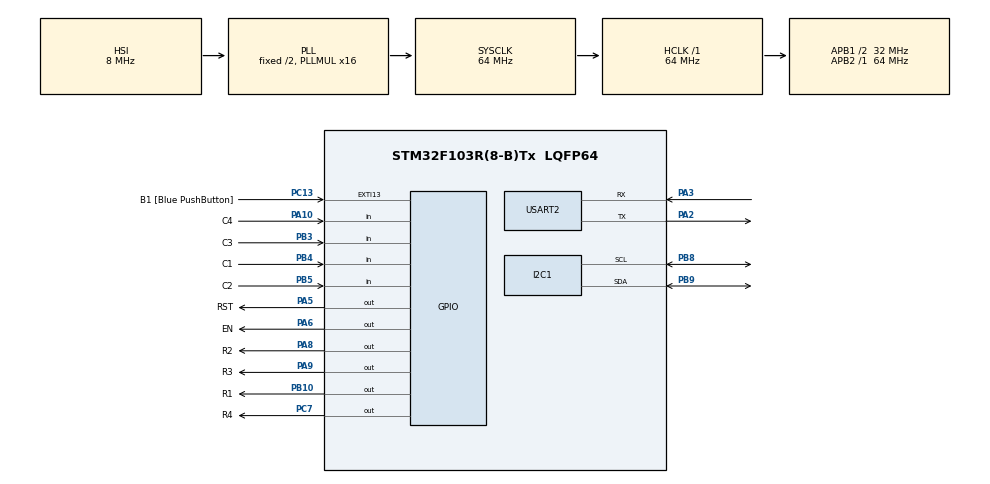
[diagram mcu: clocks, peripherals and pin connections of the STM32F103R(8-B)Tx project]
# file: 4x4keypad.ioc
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Mcu.Family=STM32F1
Mcu.Name=STM32F103R(8-B)Tx
Mcu.Package=LQFP64
NVIC.EXTI15_10_IRQn=true\:0\:0\:false\:false\:true\:true\:true
NVIC.PriorityGroup=NVIC_PRIORITYGROUP_4
NVIC.TIM3_IRQn=true\:0\:0\:false\:false\:true\:true\:true
NVIC.USART2_IRQn=true\:0\:0\:false\:false\:true\:true\:true
PA10.GPIO_Label=C4
PA10.GPIO_Mode=GPIO_MODE_INPUT
PA10.GPIO_PuPd=GPIO_PULLUP
PA10.Signal=GPIO_Input
PA13.GPIO_Label=TMS
PA13.Mode=Serial_Wire
PA13.Signal=SYS_JTMS-SWDIO
PA14.GPIO_Label=TCK
PA14.Mode=Serial_Wire
PA14.Signal=SYS_JTCK-SWCLK
PA2.Mode=Asynchronous
PA2.Signal=USART2_TX
PA3.Mode=Asynchronous
PA3.Signal=USART2_RX
PA5.GPIO_Label=RST
PA5.Signal=GPIO_Output
PA6.GPIO_Label=EN
PA6.Signal=GPIO_Output
PA8.GPIO_Label=R2
PA8.Signal=GPIO_Output
PA9.GPIO_Label=R3
PA9.Signal=GPIO_Output
PB10.GPIO_Label=R1
PB10.Signal=GPIO_Output
PB3.GPIO_Label=C3
PB3.GPIO_Mode=GPIO_MODE_INPUT
PB3.GPIO_PuPd=GPIO_PULLUP
PB3.Signal=GPIO_Input
PB4.GPIO_Label=C1
PB4.GPIO_Mode=GPIO_MODE_INPUT
PB4.GPIO_PuPd=GPIO_PULLUP
PB4.Signal=GPIO_Input
PB5.GPIO_Label=C2
PB5.GPIO_Mode=GPIO_MODE_INPUT
PB5.GPIO_PuPd=GPIO_PULLUP
PB5.Signal=GPIO_Input
PB8.Mode=I2C
PB8.Signal=I2C1_SCL
PB9.Mode=I2C
PB9.Signal=I2C1_SDA
PC13-TAMPER-RTC.GPIO_Label=B1 [Blue PushButton]
PC13-TAMPER-RTC.GPIO_PuPd=GPIO_NOPULL
PC13-TAMPER-RTC.Signal=GPXTI13
PC14-OSC32_IN.Signal=RCC_OSC32_IN
PC15-OSC32_OUT.Signal=RCC_OSC32_OUT
PC7.GPIO_Label=R4
PC7.Signal=GPIO_Output
PD0-OSC_IN.Signal=RCC_OSC_IN
PD1-OSC_OUT.Signal=RCC_OSC_OUT
ProjectManager.HeapSize=0x200
ProjectManager.StackSize=0x400
ProjectManager.TargetToolchain=STM32CubeIDE
RCC.AHBFreq_Value=64000000
RCC.APB1CLKDivider=RCC_HCLK_DIV2
RCC.APB1Freq_Value=32000000
RCC.APB1TimFreq_Value=64000000
RCC.APB2Freq_Value=64000000
RCC.APB2TimFreq_Value=64000000
RCC.HCLKFreq_Value=64000000
RCC.PLLMUL=RCC_PLL_MUL16
RCC.RTCClockSelection=RCC_RTCCLKSOURCE_LSE
RCC.SYSCLKFreq_VALUE=64000000
RCC.SYSCLKSource=RCC_SYSCLKSOURCE_PLLCLK
RCC.USBFreq_Value=64000000
TIM3.AutoReloadPreload=TIM_AUTORELOAD_PRELOAD_ENABLE
TIM3.Period=999
TIM3.Prescaler=63
USART2.VirtualMode=VM_ASYNC
VP_TIM3_VS_ClockSourceINT.Mode=Internal
board=NUCLEO-F103RB

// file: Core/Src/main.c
/* USER CODE BEGIN Header */
/**
  ******************************************************************************
  * @file           : main.c
  * @brief          : Main program body
  ******************************************************************************
  * @attention
  *
  * <h2><center>&copy; Copyright (c) 2024 STMicroelectronics.
  * All rights reserved.</center></h2>
  *
  * This software component is licensed by ST under BSD 3-Clause license,
  * the "License"; You may not use this file except in compliance with the
  * License. You may obtain a copy of the License at:
  *                        opensource.org/licenses/BSD-3-Clause
  *
  ******************************************************************************
  */
/* USER CODE END Header */

#include "main.h"

/* USER CODE BEGIN Includes */
#include <stdio.h>
#include <string.h>
#include "lcd_i2c.h"
#include "keypad.h"
/* USER CODE END Includes */

/* USER CODE BEGIN PD */
#define PW_MAX_SIZE 7
#define MAX_CHAR_SIZE 16
/* USER CODE END PD */

I2C_HandleTypeDef hi2c1;

TIM_HandleTypeDef htim3;

UART_HandleTypeDef huart2;

/* USER CODE BEGIN PV */
volatile int gTimerCnt = -1;
volatile int remainTime_idx = 10;
volatile short enable_inputPw = 0;								// check that if user press any buttons
extern short enable_remainTime_progress;
short gp_timer = 0;
short running_pw = 0;
/* USER CODE END PV */

void SystemClock_Config(void);
static void MX_GPIO_Init(void);
static void MX_I2C1_Init(void);
static void MX_TIM3_Init(void);
static void MX_USART2_UART_Init(void);

/* USER CODE BEGIN 0 */
#ifdef __GNUC__
#define PUTCHAR_PROTOTYPE int __io_putchar(int ch)
#else
#define PUTCHAR_PROTOTYPE int fputc(int ch, FILE *f)
#endif

/**
 * @brief Retargets the C library printf function to the USART.
 * @param None
 * @retval None
 */
PUTCHAR_PROTOTYPE
{
	if(ch == '\n')
		HAL_UART_Transmit(&huart2, (uint8_t*)"\r", 1, 0xFFFF);
	HAL_UART_Transmit(&huart2, (uint8_t*) &ch, 1, 0xFFFF);

	return ch;
}

void init_input_mode()
{

}
/* USER CODE END 0 */

int main(void)
{

  /* MCU Configuration--------------------------------------------------------*/

  /* Reset of all peripherals, Initializes the Flash interface and the Systick. */
  HAL_Init();

  /* Configure the system clock */
  SystemClock_Config();

  /* Initialize all configured peripherals */
  MX_GPIO_Init();
  MX_I2C1_Init();
  MX_TIM3_Init();
  MX_USART2_UART_Init();
  /* USER CODE BEGIN 2 */

  char* str = "Enter Password";
  char input_mode = 0;							// Check whether input mode or not
  char btn_key;									// 4 * 3 keypad number key
  char input_key[2] = "\0";						// Convert btn_key to string
  char pw[MAX_CHAR_SIZE] = "\0";				// Password that has input_numkey
  short long_press_cnt = 0;						// For change password
  char password[PW_MAX_SIZE] = "123456\0";		// Door lock password
  short current_cursor = 0;						// Position of current cursor
  int timeout;
  home(str);

  if(HAL_TIM_Base_Start_IT(&htim3) != HAL_OK)
  {
	  /* Starting Error */
	  Error_Handler();
  }
  /* USER CODE END 2 */

  /* Infinite loop */
  /* USER CODE BEGIN WHILE */
  while (1)
  {
	  /* check time out */
	  timeout = ((remainTime_idx < 0) ? 0x10 : 0x00);

	  /* input key and check correct input key */
	  if( (btn_key = scan_Rx()) == 255)
	  {
		  /* if time is 0 */
		  if(!(timeout & 0x10))
		  {
			  continue;
		  }else
		  {
			  // if time is out and check password
			  goto checkPw;
		  }
	  }

	  // change pw mode
	  if(btn_key == '#' && !running_pw)
	  {
		  short is_longPress = check_change_pw_key_pressed(&long_press_cnt, &gp_timer);
		  if(is_longPress)
		  {
			  __disable_irq();
			  if(changePassword(password, PW_MAX_SIZE))
			  {
				  printf("success password %s\n", password);
			  }else
			  {
				  printf("failed password\n");
			  }
			  __enable_irq();
		  }
		  continue;
	  }

	  /* set isTextRemoved when condition is true */
	  if( (btn_key != 255 && btn_key != '-') && (input_mode == 0) ) // nothing pressed and not '-' key and text is not removed
	  {
		  input_mode = 1;	// the 'text' means "Enter Password".
	  }

	  /* if input mode */
	  if(input_mode == 1)
	  {
		  HD44780_Clear();
		  input_mode = -1;
		  enable_inputPw = 0x01;

		  set_remain_time_progress();
		  gTimerCnt = 999;
	  }

	  /* ready for receive pw */
	  if(enable_inputPw)
	  {
		  input_key[0] = btn_key; //user input num key

		  /* check time out */
		  // if input key is *(for confirm) checkPw = 1 or 0
		  int checkPw = (((!strcmp(input_key, "*")) == 1) ? 0x01 : 0x00);
	  checkPw:
		  if(checkPw || timeout)
		  {

			  checkPassword(pw, password);

			  HD44780_Clear();
			  enable_remainTime_progress = 0;
			  set_remain_time_progress();
			  remainTime_idx = 10;
			  current_cursor = -1;

//			  sprintf(pw, "%s", '\0');
			  sprintf(pw, "%s", "\0");
		  }else
		  {
			  /* ready for write num key that is pressed by user */
			  if(current_cursor < MAX_CHAR_SIZE && strcmp(input_key,"#"))
			  {
				  pw[current_cursor] = btn_key;
				  set_cursor_pos(current_cursor, 0); // column and row
				  HD44780_PrintStr(input_key);
			  }
		  }
	  }
	  current_cursor++;

    /* USER CODE END WHILE */

  }
}

void SystemClock_Config(void)
{
  RCC_OscInitTypeDef RCC_OscInitStruct = {0};
  RCC_ClkInitTypeDef RCC_ClkInitStruct = {0};

  /** Initializes the CPU, AHB and APB busses clocks
  */
  RCC_OscInitStruct.OscillatorType = RCC_OSCILLATORTYPE_HSI;
  RCC_OscInitStruct.HSIState = RCC_HSI_ON;
  RCC_OscInitStruct.HSICalibrationValue = RCC_HSICALIBRATION_DEFAULT;
  RCC_OscInitStruct.PLL.PLLState = RCC_PLL_ON;
  RCC_OscInitStruct.PLL.PLLSource = RCC_PLLSOURCE_HSI_DIV2;
  RCC_OscInitStruct.PLL.PLLMUL = RCC_PLL_MUL16;
  if (HAL_RCC_OscConfig(&RCC_OscInitStruct) != HAL_OK)
  {
    Error_Handler();
  }
  /** Initializes the CPU, AHB and APB busses clocks
  */
  RCC_ClkInitStruct.ClockType = RCC_CLOCKTYPE_HCLK|RCC_CLOCKTYPE_SYSCLK
                              |RCC_CLOCKTYPE_PCLK1|RCC_CLOCKTYPE_PCLK2;
  RCC_ClkInitStruct.SYSCLKSource = RCC_SYSCLKSOURCE_PLLCLK;
  RCC_ClkInitStruct.AHBCLKDivider = RCC_SYSCLK_DIV1;
  RCC_ClkInitStruct.APB1CLKDivider = RCC_HCLK_DIV2;
  RCC_ClkInitStruct.APB2CLKDivider = RCC_HCLK_DIV1;

  if (HAL_RCC_ClockConfig(&RCC_ClkInitStruct, FLASH_LATENCY_2) != HAL_OK)
  {
    Error_Handler();
  }
}

static void MX_I2C1_Init(void)
{

  hi2c1.Instance = I2C1;
  hi2c1.Init.ClockSpeed = 100000;
  hi2c1.Init.DutyCycle = I2C_DUTYCYCLE_2;
  hi2c1.Init.OwnAddress1 = 0;
  hi2c1.Init.AddressingMode = I2C_ADDRESSINGMODE_7BIT;
  hi2c1.Init.DualAddressMode = I2C_DUALADDRESS_DISABLE;
  hi2c1.Init.OwnAddress2 = 0;
  hi2c1.Init.GeneralCallMode = I2C_GENERALCALL_DISABLE;
  hi2c1.Init.NoStretchMode = I2C_NOSTRETCH_DISABLE;
  if (HAL_I2C_Init(&hi2c1) != HAL_OK)
  {
    Error_Handler();
  }

}

static void MX_TIM3_Init(void)
{

  TIM_ClockConfigTypeDef sClockSourceConfig = {0};
  TIM_MasterConfigTypeDef sMasterConfig = {0};

  htim3.Instance = TIM3;
  htim3.Init.Prescaler = 63;
  htim3.Init.CounterMode = TIM_COUNTERMODE_UP;
  htim3.Init.Period = 999;
  htim3.Init.ClockDivision = TIM_CLOCKDIVISION_DIV1;
  htim3.Init.AutoReloadPreload = TIM_AUTORELOAD_PRELOAD_ENABLE;
  if (HAL_TIM_Base_Init(&htim3) != HAL_OK)
  {
    Error_Handler();
  }
  sClockSourceConfig.ClockSource = TIM_CLOCKSOURCE_INTERNAL;
  if (HAL_TIM_ConfigClockSource(&htim3, &sClockSourceConfig) != HAL_OK)
  {
    Error_Handler();
  }
  sMasterConfig.MasterOutputTrigger = TIM_TRGO_RESET;
  sMasterConfig.MasterSlaveMode = TIM_MASTERSLAVEMODE_DISABLE;
  if (HAL_TIMEx_MasterConfigSynchronization(&htim3, &sMasterConfig) != HAL_OK)
  {
    Error_Handler();
  }

}

static void MX_USART2_UART_Init(void)
{

  huart2.Instance = USART2;
  huart2.Init.BaudRate = 115200;
  huart2.Init.WordLength = UART_WORDLENGTH_8B;
  huart2.Init.StopBits = UART_STOPBITS_1;
  huart2.Init.Parity = UART_PARITY_NONE;
  huart2.Init.Mode = UART_MODE_TX_RX;
  huart2.Init.HwFlowCtl = UART_HWCONTROL_NONE;
  huart2.Init.OverSampling = UART_OVERSAMPLING_16;
  if (HAL_UART_Init(&huart2) != HAL_OK)
  {
    Error_Handler();
  }

}

static void MX_GPIO_Init(void)
{
  GPIO_InitTypeDef GPIO_InitStruct = {0};

  /* GPIO Ports Clock Enable */
  __HAL_RCC_GPIOC_CLK_ENABLE();
  __HAL_RCC_GPIOD_CLK_ENABLE();
  __HAL_RCC_GPIOA_CLK_ENABLE();
  __HAL_RCC_GPIOB_CLK_ENABLE();

  /*Configure GPIO pin Output Level */
  HAL_GPIO_WritePin(GPIOA, RST_Pin|EN_Pin|R2_Pin|R3_Pin, GPIO_PIN_RESET);

  /*Configure GPIO pin Output Level */
  HAL_GPIO_WritePin(R1_GPIO_Port, R1_Pin, GPIO_PIN_RESET);

  /*Configure GPIO pin Output Level */
  HAL_GPIO_WritePin(R4_GPIO_Port, R4_Pin, GPIO_PIN_RESET);

  /*Configure GPIO pin : B1_Pin */
  GPIO_InitStruct.Pin = B1_Pin;
  GPIO_InitStruct.Mode = GPIO_MODE_IT_RISING;
  GPIO_InitStruct.Pull = GPIO_NOPULL;
  HAL_GPIO_Init(B1_GPIO_Port, &GPIO_InitStruct);

  /*Configure GPIO pins : RST_Pin EN_Pin R2_Pin R3_Pin */
  GPIO_InitStruct.Pin = RST_Pin|EN_Pin|R2_Pin|R3_Pin;
  GPIO_InitStruct.Mode = GPIO_MODE_OUTPUT_PP;
  GPIO_InitStruct.Pull = GPIO_NOPULL;
  GPIO_InitStruct.Speed = GPIO_SPEED_FREQ_LOW;
  HAL_GPIO_Init(GPIOA, &GPIO_InitStruct);

  /*Configure GPIO pin : R1_Pin */
  GPIO_InitStruct.Pin = R1_Pin;
  GPIO_InitStruct.Mode = GPIO_MODE_OUTPUT_PP;
  GPIO_InitStruct.Pull = GPIO_NOPULL;
  GPIO_InitStruct.Speed = GPIO_SPEED_FREQ_LOW;
  HAL_GPIO_Init(R1_GPIO_Port, &GPIO_InitStruct);

  /*Configure GPIO pin : R4_Pin */
  GPIO_InitStruct.Pin = R4_Pin;
  GPIO_InitStruct.Mode = GPIO_MODE_OUTPUT_PP;
  GPIO_InitStruct.Pull = GPIO_NOPULL;
  GPIO_InitStruct.Speed = GPIO_SPEED_FREQ_LOW;
  HAL_GPIO_Init(R4_GPIO_Port, &GPIO_InitStruct);

  /*Configure GPIO pin : C4_Pin */
  GPIO_InitStruct.Pin = C4_Pin;
  GPIO_InitStruct.Mode = GPIO_MODE_INPUT;
  GPIO_InitStruct.Pull = GPIO_PULLUP;
  HAL_GPIO_Init(C4_GPIO_Port, &GPIO_InitStruct);

  /*Configure GPIO pins : C3_Pin C1_Pin C2_Pin */
  GPIO_InitStruct.Pin = C3_Pin|C1_Pin|C2_Pin;
  GPIO_InitStruct.Mode = GPIO_MODE_INPUT;
  GPIO_InitStruct.Pull = GPIO_PULLUP;
  HAL_GPIO_Init(GPIOB, &GPIO_InitStruct);

  /* EXTI interrupt init*/
  HAL_NVIC_SetPriority(EXTI15_10_IRQn, 0, 0);
  HAL_NVIC_EnableIRQ(EXTI15_10_IRQn);

}

/* USER CODE BEGIN 4 */
void HAL_TIM_PeriodElapsedCallback(TIM_HandleTypeDef *htim)
{
	gp_timer++;
	if(enable_inputPw)
	{
		gTimerCnt++;
		if(gTimerCnt == 1000)
		{
			if(remainTime_idx >= 0 && enable_remainTime_progress)
			{
				running_pw = 1;
				decrease_remainTime(remainTime_idx);
				remainTime_idx--;
				gTimerCnt = 0;
			}else{
				running_pw = 0;
			}
		}
	}
}
/* USER CODE END 4 */

void Error_Handler(void)
{
  /* USER CODE BEGIN Error_Handler_Debug */
  /* User can add his own implementation to report the HAL error return state */
	printf("HAL_UART_Init Error!\n");
  /* USER CODE END Error_Handler_Debug */
}

/************************ (C) COPYRIGHT STMicroelectronics *****END OF FILE****/
